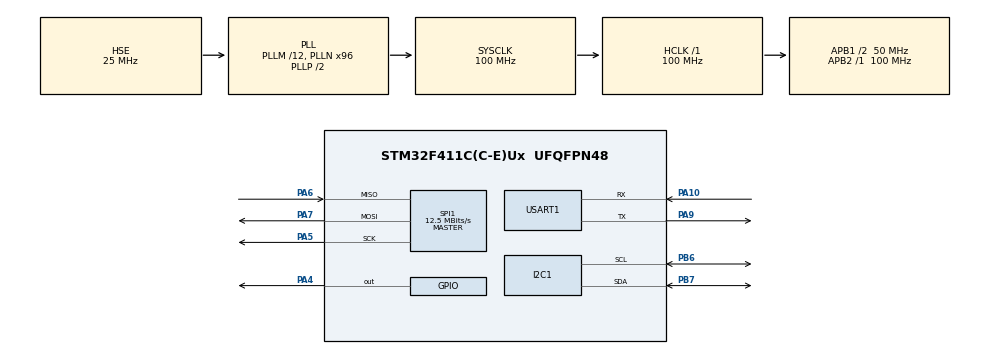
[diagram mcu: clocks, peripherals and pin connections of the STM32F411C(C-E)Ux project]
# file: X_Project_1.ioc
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FATFS._MAX_SS=4096
FATFS._USE_LFN=1
I2C1.I2C_Mode=I2C_Fast
Mcu.Family=STM32F4
Mcu.Name=STM32F411C(C-E)Ux
Mcu.Package=UFQFPN48
NVIC.PriorityGroup=NVIC_PRIORITYGROUP_4
PA10.Mode=Asynchronous
PA10.Signal=USART1_RX
PA13.Mode=Serial_Wire
PA13.Signal=SYS_JTMS-SWDIO
PA14.Mode=Serial_Wire
PA14.Signal=SYS_JTCK-SWCLK
PA4.Signal=GPIO_Output
PA5.Mode=Full_Duplex_Master
PA5.Signal=SPI1_SCK
PA6.Mode=Full_Duplex_Master
PA6.Signal=SPI1_MISO
PA7.Mode=Full_Duplex_Master
PA7.Signal=SPI1_MOSI
PA9.Mode=Asynchronous
PA9.Signal=USART1_TX
PB6.Mode=I2C
PB6.Signal=I2C1_SCL
PB7.Mode=I2C
PB7.Signal=I2C1_SDA
PH0\ -\ OSC_IN.Mode=HSE-External-Oscillator
PH0\ -\ OSC_IN.Signal=RCC_OSC_IN
PH1\ -\ OSC_OUT.Mode=HSE-External-Oscillator
PH1\ -\ OSC_OUT.Signal=RCC_OSC_OUT
ProjectManager.HeapSize=0x200
ProjectManager.StackSize=0x400
ProjectManager.TargetToolchain=STM32CubeIDE
RCC.48MHZClocksFreq_Value=50000000
RCC.AHBFreq_Value=100000000
RCC.APB1CLKDivider=RCC_HCLK_DIV2
RCC.APB1Freq_Value=50000000
RCC.APB1TimFreq_Value=100000000
RCC.APB2Freq_Value=100000000
RCC.APB2TimFreq_Value=100000000
RCC.CortexFreq_Value=100000000
RCC.HCLKFreq_Value=100000000
RCC.HSE_VALUE=25000000
RCC.HSI_VALUE=16000000
RCC.LSE_VALUE=32768
RCC.PLLM=12
RCC.PLLN=96
RCC.PLLSourceVirtual=RCC_PLLSOURCE_HSE
RCC.SYSCLKFreq_VALUE=100000000
RCC.SYSCLKSource=RCC_SYSCLKSOURCE_PLLCLK
RCC.VCOOutputFreq_Value=200000000
SPI1.BaudRatePrescaler=SPI_BAUDRATEPRESCALER_8
SPI1.CalculateBaudRate=12.5 MBits/s
SPI1.Direction=SPI_DIRECTION_2LINES
SPI1.Mode=SPI_MODE_MASTER
SPI1.VirtualType=VM_MASTER
USART1.VirtualMode=VM_ASYNC
VP_FATFS_VS_Generic.Mode=User_defined
board=custom

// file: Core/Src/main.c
/* USER CODE BEGIN Header */
/**
  ******************************************************************************
  * @file           : main.c
  * @brief          : Main program body
  ******************************************************************************
  * @attention
  *
  * Copyright (c) 2026 STMicroelectronics.
  * All rights reserved.
  *
  * This software is licensed under terms that can be found in the LICENSE file
  * in the root directory of this software component.
  * If no LICENSE file comes with this software, it is provided AS-IS.
  *
  ******************************************************************************
  */
/* USER CODE END Header */
#include "main.h"
#include "fatfs.h"

/* USER CODE BEGIN Includes */
#include <stdbool.h>
#include <stdio.h>
#include <string.h>
#include "ssd1306.h"
#include "fonts.h"
#include <inttypes.h>
/* USER CODE END Includes */

I2C_HandleTypeDef hi2c1;

SPI_HandleTypeDef hspi1;

UART_HandleTypeDef huart1;

/* USER CODE BEGIN PV */
uint32_t Kontrol_Bitleri = 0x00000000;
FATFS FatFs;
FIL Fil;
FRESULT FR_Status;
FATFS *FS_Ptr;
UINT RWC, WWC; // Read/Write Word Counter
DWORD FreeClusters;
uint32_t TotalMb, FreeMb;
char RW_Buffer[200];
char TxBuffer[250];
char ReadBuffer[512];

uint32_t x[100];
uint32_t ReadBufferData[512];

uint16_t data_res = 0;

/* USER CODE END PV */

void SystemClock_Config(void);
static void MX_GPIO_Init(void);
static void MX_I2C1_Init(void);
static void MX_SPI1_Init(void);
static void MX_USART1_UART_Init(void);
/* USER CODE BEGIN PFP */
uint8_t SD_Card_Kontrol();
static void UART_Print(char* str);
void SD_Card_Bilgi();
void SD_Card_ListDirectory_Rec(const char *path, int depth);
void SD_CardListFile(void);
FRESULT SD_CardCreateFolder(const char *path);
FRESULT SD_CardDeleteFolder(const char *path);
FRESULT SD_CardCreateExtensionFile(const char *path);
FRESULT SD_CardCreateExtensionFileAlways(const char *path);
FRESULT SD_CardDeleteExtensionFile(const char *path);
FRESULT SD_CardOnlyWriteString(const char *filename, const char *text);
FRESULT SD_CardOnlyReadString(const char *filename, char *buffer, uint32_t buffersize);
FRESULT SD_CardOnlyWriteData(const char *filename, const uint32_t *values, uint32_t count);
FRESULT SD_CardOnlyReadData(const char *filename, uint32_t *buffer, uint32_t buffersize);
FRESULT SD_CardClearFileData(const char *filename);
/* USER CODE END PFP */

/* USER CODE BEGIN 0 */

static void UART_Print(char* str)
{
    HAL_UART_Transmit(&huart1, (uint8_t *) str, strlen(str), 100);
}

/*BİLGİ
 * İLK OLARAK BU FONKSİYONU ÇAĞIRMASILIN SD CARD OKEY Mİ DİYE !
 * EĞER FONKSİYON 0 DÖNDÜRÜRSE SD CARD HATASI !
 * EĞER FONKSİYON 1 DÖNDÜRÜRSE SD CARD BAŞARILI
 * Kontrol_Bitleri  ->  0. BİTİ KONTROL AMACI İLE KONTROL EDEBİLİRSİN  0-> HATA , 1->OKEY
 * OLUŞAN HATADA FRESULT STRUCT YAPISINA GİDİP HANGİ HATADAN DOLAYI OLUŞTUĞUNU İNCELEYEBİLİRSİN*/
uint8_t SD_Card_Kontrol(){
	FR_Status = f_mount(&FatFs, "", 1);
	if (FR_Status != FR_OK){
		sprintf(TxBuffer, "Error! While Mounting SD Card, Error Code: (%i)\r\n", FR_Status);
		UART_Print(TxBuffer);
		return 0;
	}
	sprintf(TxBuffer, "SD Card Mounted Successfully! \r\n\n");
	UART_Print(TxBuffer);
	return 1;
}
/*BİLGİ
 * SD KART HAKKINDA BİLGİ VEREN FONKSİYON
 * TotalMb ve FreeMb değerleri ile MB cinsinden SD Card Boyutunu printf eden fonksiyonlar
 * Herhangi bi boyut kontrolü yapıcaksan TotalMb ve FreeMb kontrol edebilirsin.
 * */
void SD_Card_Bilgi(){
    f_getfree("", &FreeClusters, &FS_Ptr);
    uint64_t TotalSize = (uint64_t)(FS_Ptr->n_fatent - 2) * (uint64_t)FS_Ptr->csize * (uint64_t)FS_Ptr->ssize;
    uint64_t FreeSpace = (uint64_t)FreeClusters * (uint64_t)FS_Ptr->csize * (uint64_t)FS_Ptr->ssize;
    TotalMb = (uint32_t)(TotalSize /(1024UL * 1024UL));
    FreeMb = (uint32_t)(FreeSpace / (1024UL * 1024UL));
    sprintf(TxBuffer, "SD Kart Toplam: %lu MB\r\n", TotalMb);  // ≈ 14927 MB (15.65 GB'ye denk)
    UART_Print(TxBuffer);
    sprintf(TxBuffer, "SD Kart Bos: %lu MB\r\n\n", FreeMb);
    UART_Print(TxBuffer);
}

/*BİLGİ
 *SD_Card_ListDirectory_Rec ve  SD_CardListFile fonksiyonları birdir.
 *Bu fonksiyonlar MicroSd kart içerisindeki Klasorleri ve Klasordeki
 *File yapılarının boyutları ve isimleri ile beraber infosunu verir.*/
void SD_Card_ListDirectory_Rec(const char *path, int depth){
	DIR dir;
	FILINFO fno;
	FRESULT res = f_opendir(&dir, path);
	if(res != FR_OK){
		sprintf(TxBuffer,"%*s[ERR] Cannot open: %s\r\n", depth * 2, "", path);
		UART_Print(TxBuffer);
		return;
	}
	while(1){
		res = f_readdir(&dir, &fno);
		if(res != FR_OK || fno.fname[0] == 0)break;
		const char *name = fno.fname;

		if(fno.fattrib & AM_DIR){
			if(strcmp(name,".") && strcmp(name,"..") == 0){
				continue;
			}
			sprintf(TxBuffer,"%*s📁 %s\r\n", depth * 2, "", name);
			UART_Print(TxBuffer);
			char newpath[256];
			snprintf(newpath, sizeof(newpath), "%s/%s", path, name);
			SD_Card_ListDirectory_Rec(newpath, depth + 1);
		}else{
			sprintf(TxBuffer,"%*s📄 %s (%lu bytes)\r\n",depth * 2, "", name, (unsigned long)fno.fsize);
			UART_Print(TxBuffer);
		}
	}
	f_closedir(&dir);
}
void SD_CardListFile(void){
	sprintf(TxBuffer, "📂 Files on SD Card:\r\n");
	UART_Print(TxBuffer);
	SD_Card_ListDirectory_Rec("0:/", 0);
	sprintf(TxBuffer, "\r\n\r\n");
	UART_Print(TxBuffer);
}

/*BİLGİ
 *SD_CardCreateFolder("0:/FOLDER");
 *genelde yukardaki gibi kullanılır 0:/ hangi depolama olduğunu belirtmek lazım
 *eğer zaten bir dosya adı kurulu ise Create directory Failed döndürüyor !
 *f_mkdir -> klasor oluşturmak için kullanılan fonksiyon düz klasor uzantısız. */
FRESULT SD_CardCreateFolder(const char *path){
	FRESULT res = f_mkdir(path);
	sprintf(TxBuffer,"Create directory %s: %s\r\n", path, (res == FR_OK ? "OK" : "Failed"));
	UART_Print(TxBuffer);
	return res;
}
/*BİLGİ
 * SD_CardDeleteFolder("0:/FOLDER");
 * genelde yukardaki gibi kullanılır 0:/ hangi depolama olduğunu belirtmek lazım
 * f_unlink -> klasor dosyalarını silmek için kullanılan fonksiyon.*/
FRESULT SD_CardDeleteFolder(const char *path){
	FRESULT res = f_unlink(path);
	sprintf(TxBuffer,"Delete directory %s: %s\r\n", path, (res == FR_OK ? "OK" : "Failed"));
	UART_Print(TxBuffer);
	return res;
}

/*BİLGİ
 * SD_CardCreateExtensionFile("0:/FOLDER/Extension.txt"); genel kullanımı
 * DOSYA YOKSA O DOSYAYI OLUŞTURUR
 * DOSYA VARSA FR_EXIST HATASI DÖNDÜRÜR
 * FONKSİYONDA EXTENSİON OLUŞTURDUKTAN SONRA HER ZAMAN f_close(&Fil) unutma yoksa orda kalır*/
FRESULT SD_CardCreateExtensionFile(const char *path){
	FIL Fil;
	FRESULT res = f_open(&Fil, path, FA_READ | FA_WRITE | FA_CREATE_NEW);
	if(res != FR_OK){
		sprintf(TxBuffer, "Error! While Creating/Opening A New Text File, Error Code: (%i)\r\n", res);
		UART_Print(TxBuffer);
		return res;
	}
	sprintf(TxBuffer, "Extension File is Created.. \r\n\n");
	UART_Print(TxBuffer);
	f_close(&Fil);
	return res;
}
/*BİLGİ
 * AYNI MANTIK SADECE HER ZAMAN DOSYAYI OLUŞTURUR VAR OLSA BİLE SİLER TEKRARDAN OLUŞTURUR.*/
FRESULT SD_CardCreateExtensionFileAlways(const char *path){
	FIL Fil;
	FRESULT res = f_open(&Fil, path, FA_READ | FA_WRITE | FA_CREATE_ALWAYS);
	if(res != FR_OK){
		sprintf(TxBuffer, "Error! While Creating/Opening A New Text File, Error Code: (%i)\r\n", res);
		UART_Print(TxBuffer);
		return res;
	}
	sprintf(TxBuffer, "Extension File is Created..\r\n\n");
	UART_Print(TxBuffer);
	f_close(&Fil);
	return res;
}

FRESULT SD_CardDeleteExtensionFile(const char *path){
	FRESULT res = f_unlink(path);
	sprintf(TxBuffer,"Delete directory %s: %s\r\n", path, (res == FR_OK ? "OK" : "Failed"));
	UART_Print(TxBuffer);
	return res;
}

/*BİLGİ
 * var olan bir dosyayı açıp ona yazar okuma işlemi yapmaz -> FA_WRITE | FA_OPEN_EXISTING
 * Burda FA_OPEN_APPEND isteğe ihtiyaca göre değiştirilebilir
 * FA_OPEN_APPEND -> DOSYA YOKSA OLUŞTUR , VARSA DOSYA AÇ POİNTER OTOMATİK SONA KOY !*/
FRESULT SD_CardOnlyWriteString(const char *filename, const char *text){
	FIL Fil;
	FRESULT res;

	res = f_open(&Fil,filename,FA_WRITE | FA_OPEN_APPEND); //dosyayı aç imleci sona taşı
	if(res != FR_OK){
		sprintf(TxBuffer, "Error! While Opening A Text File, Error Code: (%i)\r\n", res);
		UART_Print(TxBuffer);
		return res;
	}

	res = f_puts(text, &Fil);
	if(res >= 0){
		sprintf(TxBuffer,"%s Dosyasına Yazıldı -> \%s\" (%d byte)\r\n",filename,text,res);
		UART_Print(TxBuffer);
	}else{
		sprintf(TxBuffer,"%s Dosyasına YAZMA HATASI -> f_puts = %d\r\n",filename,res);
		UART_Print(TxBuffer);
	}
	f_close(&Fil);
	return res;
}
/*BİLGİ
 * string verileri okumak için kullanılan fonksiyon
 * dikkat string buffer size [512] aşmamalı yoksa fonksiyon hata döndürür
 * [512] aşan string verileri için diğer fonksiyon kullanılmalı !*/
FRESULT SD_CardOnlyReadString(const char *filename, char *buffer, uint32_t buffersize){
	FIL Fil;
	FRESULT res;
	UINT br;

	if(buffer == NULL || buffersize == 0){
		sprintf(TxBuffer,"ReadBuffer is Not Clean First Clean The Buffer");
		UART_Print(TxBuffer);
		return FR_INVALID_PARAMETER;
	}
	buffer[0] = '\0';

	res = f_open(&Fil, filename, FA_READ | FA_OPEN_EXISTING);
	if(res != FR_OK){
		sprintf(TxBuffer, "Dosya acilamadi: %s → Hata: %d\r\n", filename, res);
		UART_Print(TxBuffer);
		return res;
	}

	FSIZE_t fsize = f_size(&Fil);
	if(fsize >= (buffersize - 1)){
		sprintf(TxBuffer, "Dosya cok buyuk! Boyut: %u, Buffer: %lu\r\n", (UINT)fsize, buffersize);
		UART_Print(TxBuffer);
		f_close(&Fil);
		return FR_DENIED;
	}

	res = f_read(&Fil, buffer, (UINT)fsize,&br);
	if((res != FR_OK) || (br != fsize)){
		sprintf(TxBuffer, "Okuma hatasi: %d (okunan: %u / beklenen: %u)\r\n", res, br, (UINT)fsize);
		UART_Print(TxBuffer);
		f_close(&Fil);
		return res;
	}

	buffer[br] = '\0';
	sprintf(TxBuffer, "%s dosyasindan okundu → \"%s\" (%u byte)\r\n", filename, buffer, br);
	UART_Print(TxBuffer);
	f_close(&Fil);
	return FR_OK;
}

/*BİLGİ
 * BU FONKSİYON BENİM İHTİYACIMA GÖRE DÜZENLENMİŞTİR
 * BU FONKSİYONU KULLANCAKSAN SD_CardOnlyWriteData("0:/FILE/Data.bin",x,sizeof(x))
 * burda x gönderceğin array uint32_t x[100] gibi , .bin dosyasına kaydet HxD progarmı ile de
 * .bin dosyasını okuyabilirsin !
 * */
FRESULT SD_CardOnlyWriteData(const char *filename, const uint32_t *values, uint32_t count){
	FIL Fil;
	FRESULT res;
	UINT bw;

	if(values == NULL || count == 0){
		sprintf(TxBuffer,"This function Be Wrong behavior fix this (0)!");
		UART_Print(TxBuffer);
		return FR_INVALID_PARAMETER;
	}
	res = f_open(&Fil, filename, FA_WRITE | FA_OPEN_APPEND);
	if(res != FR_OK){
		sprintf(TxBuffer,"This function Be Wrong behavior fix this (1)!");
		UART_Print(TxBuffer);
		return res;
	}

	UINT bytes_to_write = count; //array büyüklüğü kontrolü

	res = f_write(&Fil, values, bytes_to_write, &bw);
	if(res != FR_OK || bw != bytes_to_write){
		sprintf(TxBuffer,"This function Be Wrong behavior fix this (2)!");
		UART_Print(TxBuffer);
		f_close(&Fil);
		return res ? res : FR_INT_ERR;
	}
	f_close(&Fil);
	return FR_OK;
}

/*BİLGİ
 * BU FONKSİYON İLE uint32_t x[512] yani 2048 byte tan büyük bir data okucaksan
 * while() içindeki f_read den sonra bir kesme oluşturman lazım çünkü her [512] lik veride bir
 * buffer siliniyor ! kesme oluşturup orda [512] lik buffer değerini alıp işleyebilirsin.
 * */
FRESULT SD_CardOnlyReadData(const char *filename, uint32_t *buffer, uint32_t buffersize){
	FIL Fil;
	FRESULT res;
	UINT br;
	FSIZE_t kalan = 0;
	uint32_t toplam_eleman = 0;
	if(buffer == NULL || buffersize == 0){
		sprintf(TxBuffer,"ReadBuffer is Not Clean First Clean The Buffer");
		UART_Print(TxBuffer);
		return FR_INVALID_PARAMETER;
	}
	memset(buffer,0,buffersize);
	res = f_open(&Fil, filename, FA_READ | FA_OPEN_EXISTING);
	if(res != FR_OK){
		sprintf(TxBuffer, "Dosya acilamadi: %s → Hata: %d\r\n", filename, res);
		UART_Print(TxBuffer);
		return res;
	}

	FSIZE_t fsize = f_size(&Fil); // -> uint32_t'lik 50 veri varsa fsize = 50 * 4 ten = 200 olur.
	if(fsize % 4 != 0){
		sprintf(TxBuffer, "Dosya boyutu 4'un kati degil! Dosya içeriğini Kontrol Et (%lu byte)\r\n", fsize);
		UART_Print(TxBuffer);
		return fsize;
	}

	kalan = fsize;
	uint32_t buffer_byte = buffersize;

	while(kalan > 0){
		UINT bu_tur_okunan_byte = (kalan > buffer_byte) ? buffer_byte : (UINT)kalan;
		memset(buffer,0,buffersize);
		res = f_read(&Fil, buffer, bu_tur_okunan_byte, &br);
		//yukardaki f_read işleminden sonra [512] lik arrayler tek seferde buffer atılıyor
		//buffer okucaksan burda okuma işlemini yap bir sonraki while da 0 lanıyor !
		//yani bu kısımda bu while döngüsü içinde f_read den sonra bir kesme yapman şart!
		if(res != FR_OK || br != bu_tur_okunan_byte){
			sprintf(TxBuffer, "Dosya acilamadi:  → Hata: %d\r\n", res);
			UART_Print(TxBuffer);
			f_close(&Fil);
			return res;
			break;
		}
		uint32_t bu_tur_eleman = br / 4;

		sprintf(TxBuffer, "Parça: %lu eleman (toplam: %lu)\r\n", bu_tur_eleman, toplam_eleman + bu_tur_eleman);
		UART_Print(TxBuffer);

		toplam_eleman += bu_tur_eleman;
		kalan -= br;
	}
	f_close(&Fil);
	return FR_OK;
}

FRESULT SD_CardClearFileData(const char *filename){
	FIL Fil;
	FRESULT res;

	res = f_open(&Fil, filename, FA_WRITE | FA_READ | FA_CREATE_ALWAYS);
	if(res != FR_OK){
		sprintf(TxBuffer,"Dosya Temizlenmedi %s -> Hata %d\r\n",filename,res);
		UART_Print(TxBuffer);
		return res;
	}
	f_close(&Fil);
	sprintf(TxBuffer, "Dosya temizlendi: %s\r\n", filename);
	UART_Print(TxBuffer);
	return FR_OK;
}

//---------------------------------------------------------------------------------------

/* USER CODE END 0 */

int main(void)
{

  /* USER CODE BEGIN 1 */

	for(uint32_t i = 0; i < 100; i++){
		x[i] = i * 1000 + 12345;
	}

	for(uint32_t i = 0; i < 512; i++){
		ReadBufferData[i] = 0xFFFFFFFF;
	}

  /* USER CODE END 1 */

  /* MCU Configuration--------------------------------------------------------*/

  /* Reset of all peripherals, Initializes the Flash interface and the Systick. */
  HAL_Init();

  /* Configure the system clock */
  SystemClock_Config();

  /* Initialize all configured peripherals */
  MX_GPIO_Init();
  MX_I2C1_Init();
  MX_SPI1_Init();
  MX_USART1_UART_Init();
  MX_FATFS_Init();
  /* USER CODE BEGIN 2 */
  Kontrol_Bitleri |= (SD_Card_Kontrol() << 0); //SD KART OKEY Mİ KONTROL (ÇALIŞIYOR)
  SD_Card_Bilgi(); //SD KART FREESPACE ve TOTALSPACE BİLGİ (ÇALIŞIYOR)

  SD_CardListFile(); //SD KART DOSYA BİLGİLERİ (ÇALIŞIYOR)
  SD_CardDeleteFolder("0:/GS");
  SD_CardDeleteFolder("0:/FENER");

  SD_CardCreateExtensionFileAlways("0:/WritePro.txt");
  //SD_CardCreateFolder("0:/FENER"); //SD KART CREATE FOLDER
  //SD_CardCreateFolder("0:/GS");

  SD_CardListFile();

  //SD_CardDeleteFolder("0:/GS");

  //SD_CardListFile();

  //SD_CardCreateExtensionFile("0:/FENER/Writes.txt");
  //SD_CardCreateExtensionFile("0:/FENER/Writes1.txt");

  //SD_CardListFile();

  //SD_CardDeleteExtensionFile("0:/FENER/Writes1.txt");
  //SD_CardListFile();
  //SD_CardCreateExtensionFileAlways("0:/FENER/Writes.txt");
  //SD_CardCreateExtensionFileAlways("0:/FENER/Data.bin");
  //SD_CardListFile();

  //SD_CardOnlyWriteString("0:/FENER/Writes.txt","MERHABA BENİM ADIM HALİT , SENİN ADIN NE ?"); //(ÇALIŞIYOR)
  //SD_CardListFile();

  //SD_CardOnlyReadString("0:/FENER/Writes.txt", ReadBuffer, sizeof(ReadBuffer));//(ÇALIŞIYOR)

  //SD_CardOnlyWriteData("0:/FENER/Data.bin", x, sizeof(x));
  //SD_CardListFile();

  //SD_CardOnlyReadData("0:/FENER/Data.bin",ReadBufferData,sizeof(ReadBufferData));
  //SD_CardListFile();

  /* USER CODE END 2 */

  /* Infinite loop */
  while (1)
  {

  }
}

void SystemClock_Config(void)
{
  RCC_OscInitTypeDef RCC_OscInitStruct = {0};
  RCC_ClkInitTypeDef RCC_ClkInitStruct = {0};

  /** Configure the main internal regulator output voltage
  */
  __HAL_RCC_PWR_CLK_ENABLE();
  __HAL_PWR_VOLTAGESCALING_CONFIG(PWR_REGULATOR_VOLTAGE_SCALE1);

  /** Initializes the RCC Oscillators according to the specified parameters
  * in the RCC_OscInitTypeDef structure.
  */
  RCC_OscInitStruct.OscillatorType = RCC_OSCILLATORTYPE_HSE;
  RCC_OscInitStruct.HSEState = RCC_HSE_ON;
  RCC_OscInitStruct.PLL.PLLState = RCC_PLL_ON;
  RCC_OscInitStruct.PLL.PLLSource = RCC_PLLSOURCE_HSE;
  RCC_OscInitStruct.PLL.PLLM = 12;
  RCC_OscInitStruct.PLL.PLLN = 96;
  RCC_OscInitStruct.PLL.PLLP = RCC_PLLP_DIV2;
  RCC_OscInitStruct.PLL.PLLQ = 4;
  if (HAL_RCC_OscConfig(&RCC_OscInitStruct) != HAL_OK)
  {
    Error_Handler();
  }

  /** Initializes the CPU, AHB and APB buses clocks
  */
  RCC_ClkInitStruct.ClockType = RCC_CLOCKTYPE_HCLK|RCC_CLOCKTYPE_SYSCLK
                              |RCC_CLOCKTYPE_PCLK1|RCC_CLOCKTYPE_PCLK2;
  RCC_ClkInitStruct.SYSCLKSource = RCC_SYSCLKSOURCE_PLLCLK;
  RCC_ClkInitStruct.AHBCLKDivider = RCC_SYSCLK_DIV1;
  RCC_ClkInitStruct.APB1CLKDivider = RCC_HCLK_DIV2;
  RCC_ClkInitStruct.APB2CLKDivider = RCC_HCLK_DIV1;

  if (HAL_RCC_ClockConfig(&RCC_ClkInitStruct, FLASH_LATENCY_3) != HAL_OK)
  {
    Error_Handler();
  }
}

static void MX_I2C1_Init(void)
{

  hi2c1.Instance = I2C1;
  hi2c1.Init.ClockSpeed = 400000;
  hi2c1.Init.DutyCycle = I2C_DUTYCYCLE_2;
  hi2c1.Init.OwnAddress1 = 0;
  hi2c1.Init.AddressingMode = I2C_ADDRESSINGMODE_7BIT;
  hi2c1.Init.DualAddressMode = I2C_DUALADDRESS_DISABLE;
  hi2c1.Init.OwnAddress2 = 0;
  hi2c1.Init.GeneralCallMode = I2C_GENERALCALL_DISABLE;
  hi2c1.Init.NoStretchMode = I2C_NOSTRETCH_DISABLE;
  if (HAL_I2C_Init(&hi2c1) != HAL_OK)
  {
    Error_Handler();
  }

}

static void MX_SPI1_Init(void)
{

  /* SPI1 parameter configuration*/
  hspi1.Instance = SPI1;
  hspi1.Init.Mode = SPI_MODE_MASTER;
  hspi1.Init.Direction = SPI_DIRECTION_2LINES;
  hspi1.Init.DataSize = SPI_DATASIZE_8BIT;
  hspi1.Init.CLKPolarity = SPI_POLARITY_LOW;
  hspi1.Init.CLKPhase = SPI_PHASE_1EDGE;
  hspi1.Init.NSS = SPI_NSS_SOFT;
  hspi1.Init.BaudRatePrescaler = SPI_BAUDRATEPRESCALER_8;
  hspi1.Init.FirstBit = SPI_FIRSTBIT_MSB;
  hspi1.Init.TIMode = SPI_TIMODE_DISABLE;
  hspi1.Init.CRCCalculation = SPI_CRCCALCULATION_DISABLE;
  hspi1.Init.CRCPolynomial = 10;
  if (HAL_SPI_Init(&hspi1) != HAL_OK)
  {
    Error_Handler();
  }

}

static void MX_USART1_UART_Init(void)
{

  huart1.Instance = USART1;
  huart1.Init.BaudRate = 115200;
  huart1.Init.WordLength = UART_WORDLENGTH_8B;
  huart1.Init.StopBits = UART_STOPBITS_1;
  huart1.Init.Parity = UART_PARITY_NONE;
  huart1.Init.Mode = UART_MODE_TX_RX;
  huart1.Init.HwFlowCtl = UART_HWCONTROL_NONE;
  huart1.Init.OverSampling = UART_OVERSAMPLING_16;
  if (HAL_UART_Init(&huart1) != HAL_OK)
  {
    Error_Handler();
  }

}

static void MX_GPIO_Init(void)
{
  GPIO_InitTypeDef GPIO_InitStruct = {0};

  /* GPIO Ports Clock Enable */
  __HAL_RCC_GPIOH_CLK_ENABLE();
  __HAL_RCC_GPIOA_CLK_ENABLE();
  __HAL_RCC_GPIOB_CLK_ENABLE();

  /*Configure GPIO pin Output Level */
  HAL_GPIO_WritePin(GPIOA, GPIO_PIN_4, GPIO_PIN_RESET);

  /*Configure GPIO pin : PA4 */
  GPIO_InitStruct.Pin = GPIO_PIN_4;
  GPIO_InitStruct.Mode = GPIO_MODE_OUTPUT_PP;
  GPIO_InitStruct.Pull = GPIO_NOPULL;
  GPIO_InitStruct.Speed = GPIO_SPEED_FREQ_LOW;
  HAL_GPIO_Init(GPIOA, &GPIO_InitStruct);

}

void Error_Handler(void)
{
  __disable_irq();
  while (1)
  {
  }
}
